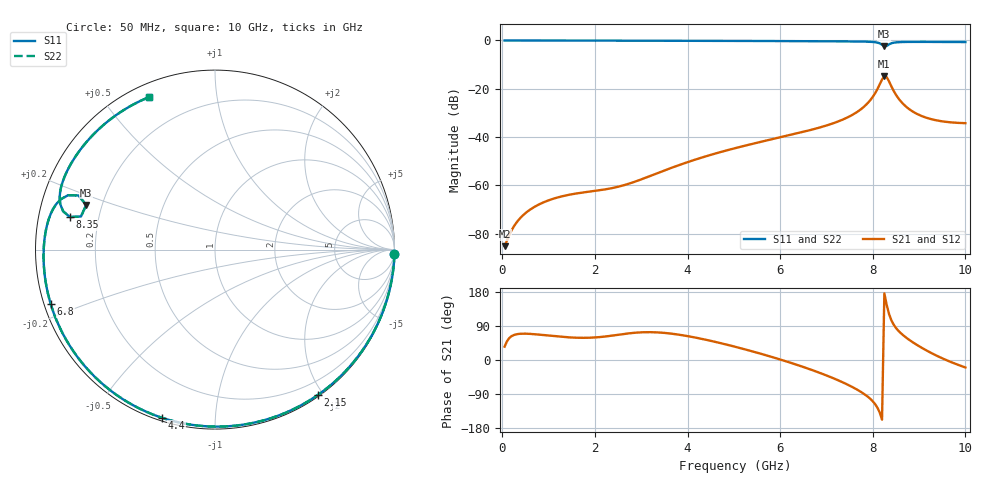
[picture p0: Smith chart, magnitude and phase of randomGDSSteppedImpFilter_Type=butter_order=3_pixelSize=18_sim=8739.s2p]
! freq	dB(S11)	phase(S11)	dB(S12)	phase(S12)
!  dB(S21)	phase(S21)	dB(S22)	phase(S22)
!S-par simulation data
#  GHz  S  DB  R 50
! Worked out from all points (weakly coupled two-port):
!   200 points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, 50 MHz to 10 GHz, reference 50 ohm
!   highest |S21| = -14.83 dB at 8.25 GHz (marker M1); lowest = -85.1 dB at 50 MHz (marker M2)
!   lowest |S11| = -2.4 dB at 8.25 GHz (marker M3), VSWR 7.30, Z = 7.04 + j8.28 ohm
!   |S11| at or under -10 dB: nowhere
!   |S22| runs from -2.4 to 0.0 dB; largest |S21 - S12| = 0
!   S11 on the Smith chart (normalised r, x): 50 MHz: 0, -87; 2.15 GHz: 0.02, -1.93; 4.4 GHz: 0.01, -0.74; 6.8 GHz: 0.02, -0.16; 8.35 GHz: 0.09, +0.11; 10 GHz: 0.06, +0.66
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0.05  -0.00 -1.3  -85.12 35.4  -85.12 35.4  -0.00 -1.3
0.15  -0.00 -3.9  -80.51 57.9  -80.51 57.9  -0.00 -3.9
0.4  -0.01 -10.5  -73.24 69.3  -73.24 69.3  -0.01 -10.5
0.75  -0.02 -19.5  -68.26 67.5  -68.26 67.5  -0.02 -19.5
1.2  -0.04 -31.0  -64.93 62.0  -64.93 62.0  -0.04 -31.0
1.75  -0.06 -44.8  -62.88 58.5  -62.88 58.5  -0.06 -44.8
2.15  -0.07 -54.7  -61.84 61.0  -61.84 61.0  -0.07 -54.7
3.4  -0.11 -84.5  -54.54 72.5  -54.54 72.5  -0.11 -84.5
4.4  -0.15 -107.4  -47.91 53.3  -47.91 53.3  -0.15 -107.4
5.05  -0.19 -121.9  -44.46 34.3  -44.46 34.3  -0.19 -121.9
6.7  -0.31 -159.3  -36.83 -27.0  -36.83 -27.0  -0.31 -159.3
6.8  -0.32 -161.7  -36.31 -31.4  -36.31 -31.4  -0.32 -161.7
7.35  -0.38 -175.1  -32.75 -58.9  -32.75 -58.9  -0.38 -175.1
7.75  -0.45 174.1  -28.37 -84.6  -28.37 -84.6  -0.45 174.2
8  -0.62 166.0  -23.33 -109.0  -23.33 -109.0  -0.62 166.0
8.15  -1.19 159.6  -18.19 -138.7  -18.19 -138.7  -1.19 159.7
8.25  -2.39 160.8  -14.83 175.8  -14.83 175.8  -2.39 160.9
8.35  -1.63 167.4  -16.88 121.8  -16.88 121.8  -1.63 167.4
8.6  -0.67 157.8  -25.08 71.5  -25.08 71.5  -0.67 157.8
8.9  -0.59 148.0  -29.82 43.9  -29.82 43.9  -0.59 148.0
9.35  -0.61 134.1  -32.96 13.1  -32.96 13.1  -0.61 134.2
10  -0.67 113.4  -34.22 -19.7  -34.22 -19.7  -0.67 113.4
